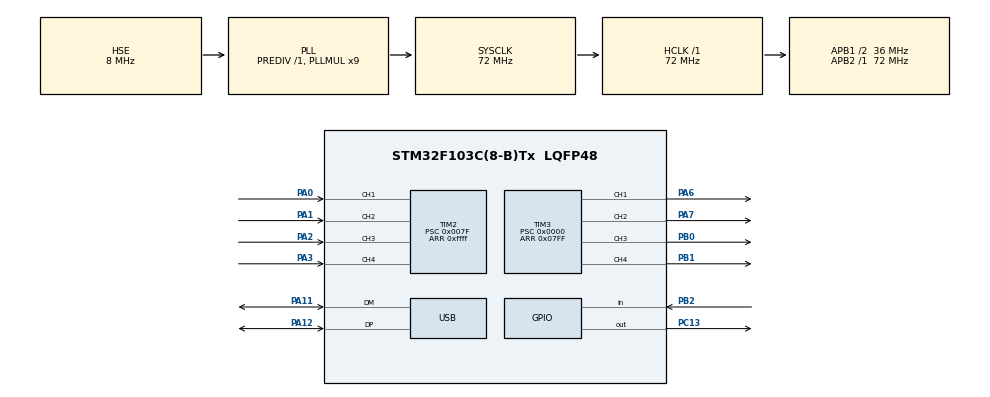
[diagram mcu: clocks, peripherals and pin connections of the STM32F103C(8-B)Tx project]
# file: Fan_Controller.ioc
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Mcu.Family=STM32F1
Mcu.Name=STM32F103C(8-B)Tx
Mcu.Package=LQFP48
NVIC.PriorityGroup=NVIC_PRIORITYGROUP_4
NVIC.TIM2_IRQn=true\:0\:0\:false\:false\:true\:true\:true
NVIC.TIM3_IRQn=true\:0\:0\:false\:false\:true\:true\:true
NVIC.USB_HP_CAN1_TX_IRQn=true\:0\:0\:false\:false\:true\:true\:true
NVIC.USB_LP_CAN1_RX0_IRQn=true\:0\:0\:false\:false\:true\:false\:true
PA0-WKUP.GPIO_PuPd=GPIO_PULLUP
PA0-WKUP.Signal=S_TIM2_CH1_ETR
PA1.GPIO_PuPd=GPIO_PULLUP
PA1.Signal=S_TIM2_CH2
PA11.Mode=Device
PA11.Signal=USB_DM
PA12.Mode=Device
PA12.Signal=USB_DP
PA13.Mode=Serial_Wire
PA13.Signal=SYS_JTMS-SWDIO
PA14.Mode=Serial_Wire
PA14.Signal=SYS_JTCK-SWCLK
PA2.GPIO_PuPd=GPIO_PULLUP
PA2.Signal=S_TIM2_CH3
PA3.GPIO_PuPd=GPIO_PULLUP
PA3.Signal=S_TIM2_CH4
PA6.Signal=S_TIM3_CH1
PA7.Signal=S_TIM3_CH2
PB0.Signal=S_TIM3_CH3
PB1.Signal=S_TIM3_CH4
PB2.GPIO_PuPd=GPIO_NOPULL
PB2.Signal=GPIO_Input
PC13-TAMPER-RTC.GPIO_Speed=GPIO_SPEED_FREQ_LOW
PC13-TAMPER-RTC.PinState=GPIO_PIN_RESET
PC13-TAMPER-RTC.Signal=GPIO_Output
PD0-OSC_IN.Mode=HSE-External-Oscillator
PD0-OSC_IN.Signal=RCC_OSC_IN
PD1-OSC_OUT.Mode=HSE-External-Oscillator
PD1-OSC_OUT.Signal=RCC_OSC_OUT
ProjectManager.HeapSize=0x200
ProjectManager.StackSize=0x400
ProjectManager.TargetToolchain=STM32CubeIDE
RCC.AHBFreq_Value=72000000
RCC.APB1CLKDivider=RCC_HCLK_DIV2
RCC.APB1Freq_Value=36000000
RCC.APB1TimFreq_Value=72000000
RCC.APB2Freq_Value=72000000
RCC.APB2TimFreq_Value=72000000
RCC.HCLKFreq_Value=72000000
RCC.PLLMUL=RCC_PLL_MUL9
RCC.PLLSourceVirtual=RCC_PLLSOURCE_HSE
RCC.SYSCLKFreq_VALUE=72000000
RCC.SYSCLKSource=RCC_SYSCLKSOURCE_PLLCLK
RCC.USBFreq_Value=48000000
RCC.USBPrescaler=RCC_USBCLKSOURCE_PLL_DIV1_5
SH.S_TIM2_CH1_ETR.0=TIM2_CH1,Input_Capture1_from_TI1
SH.S_TIM2_CH2.0=TIM2_CH2,Input_Capture2_from_TI2
SH.S_TIM2_CH3.0=TIM2_CH3,Input_Capture3_from_TI3
SH.S_TIM2_CH4.0=TIM2_CH4,Input_Capture4_from_TI4
SH.S_TIM3_CH1.0=TIM3_CH1,PWM Generation1 CH1
SH.S_TIM3_CH2.0=TIM3_CH2,PWM Generation2 CH2
SH.S_TIM3_CH3.0=TIM3_CH3,PWM Generation3 CH3
SH.S_TIM3_CH4.0=TIM3_CH4,PWM Generation4 CH4
TIM2.Channel-Input_Capture1_from_TI1=TIM_CHANNEL_1
TIM2.Channel-Input_Capture2_from_TI2=TIM_CHANNEL_2
TIM2.Channel-Input_Capture3_from_TI3=TIM_CHANNEL_3
TIM2.Channel-Input_Capture4_from_TI4=TIM_CHANNEL_4
TIM2.ICPolarity_CH1=TIM_INPUTCHANNELPOLARITY_FALLING
TIM2.ICPolarity_CH2=TIM_INPUTCHANNELPOLARITY_FALLING
TIM2.Period=0xffff
TIM2.Prescaler=0x007F
TIM3.AutoReloadPreload=TIM_AUTORELOAD_PRELOAD_ENABLE
TIM3.Channel-PWM\ Generation1\ CH1=TIM_CHANNEL_1
TIM3.Channel-PWM\ Generation2\ CH2=TIM_CHANNEL_2
TIM3.Channel-PWM\ Generation3\ CH3=TIM_CHANNEL_3
TIM3.Channel-PWM\ Generation4\ CH4=TIM_CHANNEL_4
TIM3.Period=0x07FF
TIM3.Prescaler=0x0000
USB_DEVICE.CLASS_NAME_FS=CDC
USB_DEVICE.VirtualMode=Cdc
USB_DEVICE.VirtualModeFS=Cdc_FS
VP_TIM3_VS_ClockSourceINT.Mode=Internal
VP_USB_DEVICE_VS_USB_DEVICE_CDC_FS.Mode=CDC_FS
board=custom

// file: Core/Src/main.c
/* USER CODE BEGIN Header */
/**
  ******************************************************************************
  * @file           : main.c
  * @brief          : Main program body
  ******************************************************************************
  * @attention
  *
  * <h2><center>&copy; Copyright (c) 2020 STMicroelectronics.
  * All rights reserved.</center></h2>
  *
  * This software component is licensed by ST under BSD 3-Clause license,
  * the "License"; You may not use this file except in compliance with the
  * License. You may obtain a copy of the License at:
  *                        opensource.org/licenses/BSD-3-Clause
  *
  ******************************************************************************
  */

/*
 * A frequência está setada para aproximadamente 35kHz, porém o padrão de PWM
 * dos coolers recomenda 25kHz e diz que é aceitável entre 21kHz e 28kHz.
 */

/* USER CODE END Header */

#include "main.h"
#include "usb_device.h"

/* USER CODE BEGIN PD */
#define TRANSMIT_SIZE 64
#define NUM_FANS 4
/* USER CODE END PD */

TIM_HandleTypeDef htim2;
TIM_HandleTypeDef htim3;

/* USER CODE BEGIN PV */
uint16_t IC_Val1[NUM_FANS] = {0};
uint16_t IC_Val2[NUM_FANS] = {0};
uint16_t IC_Period16[NUM_FANS] = {0};
uint32_t period[NUM_FANS] = {0};
uint32_t freq[NUM_FANS] = {0};
uint32_t rpm[NUM_FANS] = {0};
uint8_t read[NUM_FANS] = {0};
uint8_t timeout[NUM_FANS] = {0};
/* USER CODE END PV */

void SystemClock_Config(void);
static void MX_GPIO_Init(void);
static void MX_TIM2_Init(void);
static void MX_TIM3_Init(void);

/* USER CODE BEGIN 0 */

void HAL_TIM_PeriodElapsedCallback(TIM_HandleTypeDef *htim){
  if(htim->Instance == TIM2){
    //Timer do input
    //HAL_GPIO_TogglePin(GPIOC, GPIO_PIN_13);
    for(int i=0; i<NUM_FANS; i++){
      if(!read[i]){
        freq[i] = 0;
        rpm[i] = 0;
        timeout[i] = 1;
      }
      read[i] = 0;
    }
  }
  if(htim->Instance == TIM3){
    //Timer do PWM
    //HAL_GPIO_TogglePin(GPIOC, GPIO_PIN_13);
  }
}

void HAL_TIM_IC_CaptureCallback(TIM_HandleTypeDef *htim){ //A frequência está certa, prescaler 0x0080 (128)
  if(htim->Instance == TIM2){
    uint8_t chidx = 0;
    uint32_t chtim = 0;
    //HAL_GPIO_TogglePin(GPIOC, GPIO_PIN_13);
    switch(htim->Channel){ //rising edge interrupt
    case HAL_TIM_ACTIVE_CHANNEL_1:
      chidx = 0;
      chtim = TIM_CHANNEL_1;
      break;
    case HAL_TIM_ACTIVE_CHANNEL_2:
      chidx = 1;
      chtim = TIM_CHANNEL_2;
      break;
    case HAL_TIM_ACTIVE_CHANNEL_3:
      chidx = 2;
      chtim = TIM_CHANNEL_3;
      break;
    case HAL_TIM_ACTIVE_CHANNEL_4:
      chidx = 3;
      chtim = TIM_CHANNEL_4;
      break;
    default:
      break;
    }
    IC_Val2[chidx] = HAL_TIM_ReadCapturedValue(htim, chtim);
    IC_Period16[chidx] = IC_Val2[chidx] - IC_Val1[chidx];
    period[chidx] = IC_Period16[chidx];
    if(period[chidx]){
      freq[chidx] = (2*HAL_RCC_GetPCLK1Freq()/(128*period[chidx])); //Prescaler 128
    }
    if(timeout[chidx]){ //Tem que ignorar a primeira leitura depois do timeout
      freq[chidx] = 0;
    }
    rpm[chidx] = freq[chidx]*30; //O Hall pulsa duas vezes por revolução
    IC_Val1[chidx] = IC_Val2[chidx];
    read[chidx] = 1;
    timeout[chidx] = 0;
  }
}
/* USER CODE END 0 */

int main(void)
{
  /* USER CODE BEGIN 1 */
  char usbbuf[TRANSMIT_SIZE];
  /* USER CODE END 1 */

  /* MCU Configuration--------------------------------------------------------*/

  /* Reset of all peripherals, Initializes the Flash interface and the Systick. */
  HAL_Init();

  /* Configure the system clock */
  SystemClock_Config();

  /* Initialize all configured peripherals */
  MX_GPIO_Init();
  MX_USB_DEVICE_Init();
  MX_TIM2_Init();
  MX_TIM3_Init();
  /* USER CODE BEGIN 2 */
  HAL_TIM_IC_Start_IT(&htim2, TIM_CHANNEL_1);
  HAL_TIM_IC_Start_IT(&htim2, TIM_CHANNEL_2);
  HAL_TIM_IC_Start_IT(&htim2, TIM_CHANNEL_3);
  HAL_TIM_IC_Start_IT(&htim2, TIM_CHANNEL_4);
  HAL_TIM_Base_Start_IT(&htim2);
  HAL_TIM_Base_Start_IT(&htim3);
  HAL_TIM_PWM_Start_IT(&htim3,TIM_CHANNEL_1);
  HAL_TIM_PWM_Start_IT(&htim3,TIM_CHANNEL_2);
  HAL_TIM_PWM_Start_IT(&htim3,TIM_CHANNEL_3);
  HAL_TIM_PWM_Start_IT(&htim3,TIM_CHANNEL_4);

  TIM3->CCR1 = 512;
  TIM3->CCR2 = 512;
  TIM3->CCR3 = 512;
  TIM3->CCR4 = 512;
  /* USER CODE END 2 */

  /* Infinite loop */
  while (1)
  {

    /* USER CODE BEGIN 3 */
    for(int i=0; i<TRANSMIT_SIZE-1; i++){
      usbbuf[i] = 0;
    }
    sprintf(usbbuf, "W%08lX-%08lX-%08lX-%08lX-X", rpm[0], rpm[1], rpm[2], rpm[3]);
    while(CDC_Transmit_FS(usbbuf, 38) == USBD_BUSY);
  }
  /* USER CODE END 3 */
}

void SystemClock_Config(void)
{
  RCC_OscInitTypeDef RCC_OscInitStruct = {0};
  RCC_ClkInitTypeDef RCC_ClkInitStruct = {0};
  RCC_PeriphCLKInitTypeDef PeriphClkInit = {0};

  /** Initializes the CPU, AHB and APB busses clocks
  */
  RCC_OscInitStruct.OscillatorType = RCC_OSCILLATORTYPE_HSE;
  RCC_OscInitStruct.HSEState = RCC_HSE_ON;
  RCC_OscInitStruct.HSEPredivValue = RCC_HSE_PREDIV_DIV1;
  RCC_OscInitStruct.HSIState = RCC_HSI_ON;
  RCC_OscInitStruct.PLL.PLLState = RCC_PLL_ON;
  RCC_OscInitStruct.PLL.PLLSource = RCC_PLLSOURCE_HSE;
  RCC_OscInitStruct.PLL.PLLMUL = RCC_PLL_MUL9;
  if (HAL_RCC_OscConfig(&RCC_OscInitStruct) != HAL_OK)
  {
    Error_Handler();
  }
  /** Initializes the CPU, AHB and APB busses clocks
  */
  RCC_ClkInitStruct.ClockType = RCC_CLOCKTYPE_HCLK|RCC_CLOCKTYPE_SYSCLK
                              |RCC_CLOCKTYPE_PCLK1|RCC_CLOCKTYPE_PCLK2;
  RCC_ClkInitStruct.SYSCLKSource = RCC_SYSCLKSOURCE_PLLCLK;
  RCC_ClkInitStruct.AHBCLKDivider = RCC_SYSCLK_DIV1;
  RCC_ClkInitStruct.APB1CLKDivider = RCC_HCLK_DIV2;
  RCC_ClkInitStruct.APB2CLKDivider = RCC_HCLK_DIV1;

  if (HAL_RCC_ClockConfig(&RCC_ClkInitStruct, FLASH_LATENCY_2) != HAL_OK)
  {
    Error_Handler();
  }
  PeriphClkInit.PeriphClockSelection = RCC_PERIPHCLK_USB;
  PeriphClkInit.UsbClockSelection = RCC_USBCLKSOURCE_PLL_DIV1_5;
  if (HAL_RCCEx_PeriphCLKConfig(&PeriphClkInit) != HAL_OK)
  {
    Error_Handler();
  }
}

static void MX_TIM2_Init(void)
{

  TIM_MasterConfigTypeDef sMasterConfig = {0};
  TIM_IC_InitTypeDef sConfigIC = {0};

  htim2.Instance = TIM2;
  htim2.Init.Prescaler = 0x007F;
  htim2.Init.CounterMode = TIM_COUNTERMODE_UP;
  htim2.Init.Period = 0xffff;
  htim2.Init.ClockDivision = TIM_CLOCKDIVISION_DIV1;
  htim2.Init.AutoReloadPreload = TIM_AUTORELOAD_PRELOAD_DISABLE;
  if (HAL_TIM_IC_Init(&htim2) != HAL_OK)
  {
    Error_Handler();
  }
  sMasterConfig.MasterOutputTrigger = TIM_TRGO_RESET;
  sMasterConfig.MasterSlaveMode = TIM_MASTERSLAVEMODE_DISABLE;
  if (HAL_TIMEx_MasterConfigSynchronization(&htim2, &sMasterConfig) != HAL_OK)
  {
    Error_Handler();
  }
  sConfigIC.ICPolarity = TIM_INPUTCHANNELPOLARITY_FALLING;
  sConfigIC.ICSelection = TIM_ICSELECTION_DIRECTTI;
  sConfigIC.ICPrescaler = TIM_ICPSC_DIV1;
  sConfigIC.ICFilter = 0;
  if (HAL_TIM_IC_ConfigChannel(&htim2, &sConfigIC, TIM_CHANNEL_1) != HAL_OK)
  {
    Error_Handler();
  }
  if (HAL_TIM_IC_ConfigChannel(&htim2, &sConfigIC, TIM_CHANNEL_2) != HAL_OK)
  {
    Error_Handler();
  }
  sConfigIC.ICPolarity = TIM_INPUTCHANNELPOLARITY_RISING;
  if (HAL_TIM_IC_ConfigChannel(&htim2, &sConfigIC, TIM_CHANNEL_3) != HAL_OK)
  {
    Error_Handler();
  }
  if (HAL_TIM_IC_ConfigChannel(&htim2, &sConfigIC, TIM_CHANNEL_4) != HAL_OK)
  {
    Error_Handler();
  }

}

static void MX_TIM3_Init(void)
{

  TIM_ClockConfigTypeDef sClockSourceConfig = {0};
  TIM_MasterConfigTypeDef sMasterConfig = {0};
  TIM_OC_InitTypeDef sConfigOC = {0};

  htim3.Instance = TIM3;
  htim3.Init.Prescaler = 0x0000;
  htim3.Init.CounterMode = TIM_COUNTERMODE_UP;
  htim3.Init.Period = 0x07FF;
  htim3.Init.ClockDivision = TIM_CLOCKDIVISION_DIV1;
  htim3.Init.AutoReloadPreload = TIM_AUTORELOAD_PRELOAD_ENABLE;
  if (HAL_TIM_Base_Init(&htim3) != HAL_OK)
  {
    Error_Handler();
  }
  sClockSourceConfig.ClockSource = TIM_CLOCKSOURCE_INTERNAL;
  if (HAL_TIM_ConfigClockSource(&htim3, &sClockSourceConfig) != HAL_OK)
  {
    Error_Handler();
  }
  if (HAL_TIM_PWM_Init(&htim3) != HAL_OK)
  {
    Error_Handler();
  }
  sMasterConfig.MasterOutputTrigger = TIM_TRGO_RESET;
  sMasterConfig.MasterSlaveMode = TIM_MASTERSLAVEMODE_DISABLE;
  if (HAL_TIMEx_MasterConfigSynchronization(&htim3, &sMasterConfig) != HAL_OK)
  {
    Error_Handler();
  }
  sConfigOC.OCMode = TIM_OCMODE_PWM1;
  sConfigOC.Pulse = 0;
  sConfigOC.OCPolarity = TIM_OCPOLARITY_HIGH;
  sConfigOC.OCFastMode = TIM_OCFAST_DISABLE;
  if (HAL_TIM_PWM_ConfigChannel(&htim3, &sConfigOC, TIM_CHANNEL_1) != HAL_OK)
  {
    Error_Handler();
  }
  if (HAL_TIM_PWM_ConfigChannel(&htim3, &sConfigOC, TIM_CHANNEL_2) != HAL_OK)
  {
    Error_Handler();
  }
  if (HAL_TIM_PWM_ConfigChannel(&htim3, &sConfigOC, TIM_CHANNEL_3) != HAL_OK)
  {
    Error_Handler();
  }
  if (HAL_TIM_PWM_ConfigChannel(&htim3, &sConfigOC, TIM_CHANNEL_4) != HAL_OK)
  {
    Error_Handler();
  }
  HAL_TIM_MspPostInit(&htim3);

}

static void MX_GPIO_Init(void)
{
  GPIO_InitTypeDef GPIO_InitStruct = {0};

  /* GPIO Ports Clock Enable */
  __HAL_RCC_GPIOC_CLK_ENABLE();
  __HAL_RCC_GPIOD_CLK_ENABLE();
  __HAL_RCC_GPIOA_CLK_ENABLE();
  __HAL_RCC_GPIOB_CLK_ENABLE();

  /*Configure GPIO pin Output Level */
  HAL_GPIO_WritePin(GPIOC, GPIO_PIN_13, GPIO_PIN_RESET);

  /*Configure GPIO pin : PC13 */
  GPIO_InitStruct.Pin = GPIO_PIN_13;
  GPIO_InitStruct.Mode = GPIO_MODE_OUTPUT_PP;
  GPIO_InitStruct.Pull = GPIO_NOPULL;
  GPIO_InitStruct.Speed = GPIO_SPEED_FREQ_LOW;
  HAL_GPIO_Init(GPIOC, &GPIO_InitStruct);

  /*Configure GPIO pin : PB2 */
  GPIO_InitStruct.Pin = GPIO_PIN_2;
  GPIO_InitStruct.Mode = GPIO_MODE_INPUT;
  GPIO_InitStruct.Pull = GPIO_NOPULL;
  HAL_GPIO_Init(GPIOB, &GPIO_InitStruct);

}

void Error_Handler(void)
{
}

/************************ (C) COPYRIGHT STMicroelectronics *****END OF FILE****/
